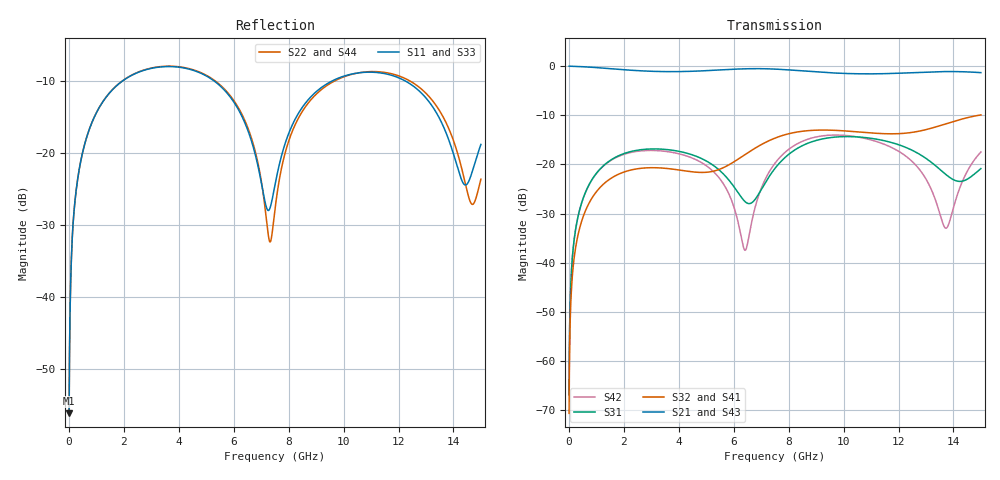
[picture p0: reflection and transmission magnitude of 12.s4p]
! Created with skrf 1.8.0 (http://scikit-rf.org).
# GHz S RI R 50.0
!freq ReS11 ImS11 ReS12 ImS12 ReS13 ImS13
! ReS14 ImS14
! ReS21 ImS21 ReS22 ImS22 ReS23 ImS23
! ReS24 ImS24
! ReS31 ImS31 ReS32 ImS32 ReS33 ImS33
! ReS34 ImS34
! ReS41 ImS41 ReS42 ImS42 ReS43 ImS43
! ReS44 ImS44
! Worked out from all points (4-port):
!   2499 points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, 5 MHz to 15 GHz, reference 50 ohm
!   strongest paths, dB at 5 MHz, 3.476 GHz, 7.19 GHz, 11.1 GHz, 15 GHz:
!     S21: 0.0, -1.1, -0.5, -1.6, -1.3
!     S43: 0.0, -1.1, -0.5, -1.6, -1.3
!     S32: -70.7, -20.8, -15.4, -13.6, -9.9
!     S41: -70.7, -20.8, -15.4, -13.7, -9.9
!     S31: -66.9, -16.9, -23.3, -14.8, -20.9
!     S42: -66.9, -17.3, -22.5, -15.2, -17.5
!   lowest |S11| = -56.2 dB at 5 MHz (marker M1), VSWR 1.00, Z = 50.1 + j0.0949 ohm
!   |S11| at or under -10 dB: start of sweep to 1.944 GHz; 5.292 GHz to 9.573 GHz (4.281 GHz wide, 57.6 % of centre); 12.26 GHz to end of sweep
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0.005  0.00124 0.000947  0.9987 -0.00241  5.96e-05 0.000448  -5.82e-05 -0.000287
       0.9987 -0.00241  0.00124 0.000947  -5.82e-05 -0.000287  5.96e-05 0.000449
       5.96e-05 0.000448  -5.82e-05 -0.000287  0.00124 0.000947  0.9987 -0.00241
       -5.82e-05 -0.000287  5.96e-05 0.000449  0.9987 -0.00241  0.00124 0.000947
0.4126719  0.0226 0.0817  0.9687 -0.1972  0.0102 0.0351  -0.00831 -0.0223
           0.9687 -0.1972  0.0227 0.0817  -0.00832 -0.0223  0.00963 0.0352
           0.0102 0.0351  -0.00832 -0.0223  0.0226 0.0817  0.9687 -0.1972
           -0.00831 -0.0223  0.00963 0.0352  0.9687 -0.1972  0.0227 0.0817
2.025844  0.2656 0.186  0.5605 -0.7264  0.1188 0.0515  -0.0835 -0.00828
          0.5605 -0.7264  0.2679 0.1844  -0.0836 -0.00818  0.1117 0.0609
          0.1188 0.0515  -0.0836 -0.00818  0.2656 0.1861  0.5604 -0.7265
          -0.0835 -0.00828  0.1117 0.0609  0.5604 -0.7265  0.268 0.1844
7.253022  0.0398 -0.00326  -0.9363 -0.061  -0.0242 0.0684  -0.00832 0.1723
          -0.9363 -0.061  0.0235 -0.014  -0.00653 0.1725  0.0268 0.0758
          -0.0242 0.0684  -0.00653 0.1725  0.0395 -0.00441  -0.9363 -0.061
          -0.00832 0.1723  0.0268 0.0758  -0.9363 -0.061  0.0241 -0.0149
10.4356  0.3537 0.0555  -0.2557 0.7965  0.1875 -0.0354  0.2133 -0.00922
         -0.2557 0.7965  0.3516 0.065  0.2146 -0.0125  0.19 -0.025
         0.1875 -0.0354  0.2146 -0.0125  0.3531 0.0569  -0.2548 0.7965
         0.2133 -0.00922  0.19 -0.025  -0.2548 0.7965  0.3534 0.063
13.72447  0.096 -0.1011  0.7602 0.4437  -0.0608 -0.0504  0.1246 -0.2261
          0.7602 0.4437  0.0967 -0.1322  0.119 -0.2295  0.0224 0.00026
          -0.0608 -0.0504  0.119 -0.2295  0.0997 -0.1038  0.7598 0.4431
          0.1246 -0.2261  0.0224 0.00026  0.7598 0.4431  0.0977 -0.1369
15  0.0834 0.0789  0.8572 -0.0449  -0.0167 0.089  -0.0287 -0.3169
    0.8572 -0.0449  0.053 0.039  -0.0362 -0.3167  0.0974 0.0916
    -0.0167 0.089  -0.0362 -0.3167  0.0833 0.0724  0.8575 -0.0451
    -0.0287 -0.3169  0.0974 0.0916  0.8575 -0.0451  0.0533 0.0337
